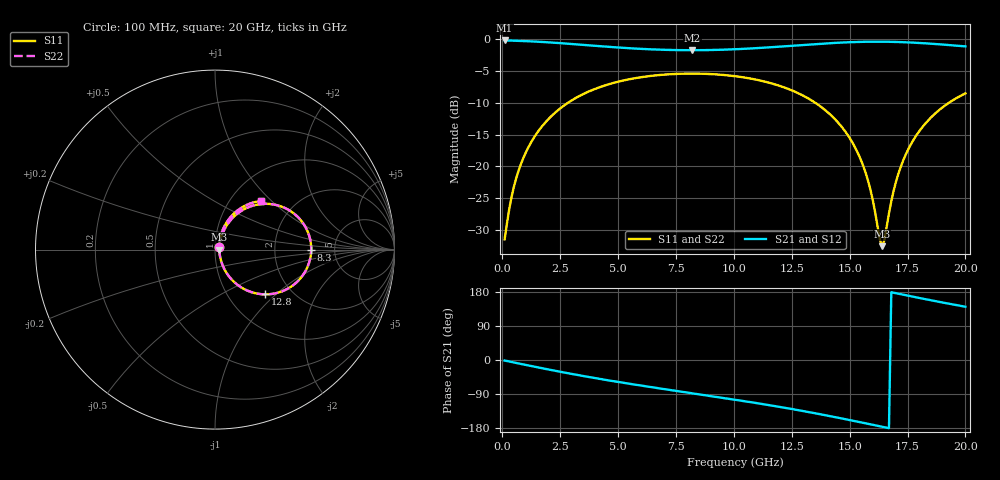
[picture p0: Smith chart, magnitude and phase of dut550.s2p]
! Touchstone file exported from HFSS 2026.1.0
!  File:  C:/ffzhzh/LocalFiles/Ansys_Project_Files/temp_train_TSV_RDL_550_1783114683_46604.aedt
!  Generated:  05:47:28 AM Jul  4, 2026
!  Design:  TSV_RDL
!  Project:  temp_train_TSV_RDL_550_1783114683_46604
! Variables:
!  h_bsmrdl = 2.46um
!  h_ox = 20um
!  h_rdl = 5um
!  h_sub = 75.92um
!  h_tmrdl = 4um
!  h_tsv = 75.92um
!  h_via = 3um
!  l_bsmrdl = 548.22um
!  l_sub = 3356.13um
!  l_tmrdl = 303.89um
!  m_sub = 200um
!  pitch = 49.19um
!  r_tsv = 14.95um
!  s_tmrdl = 10um
!  w_bsmrdl = 14.46um
!  w_sub = 500um
!  w_tmrdl = 17.51um
!  x_tsv_center1 = 312.645um
!  x_tsv_center2 = 875.325um
!  x_tsv_center3 = 1196.725um
!  x_tsv_center4 = 1759.405um
!  x_tsv_center5 = 2080.805um
!  x_tsv_center6 = 2643.485um
# GHz S MA R 50.000000
! Terminal data exported
! Port[1] = TM_RDL1_1_T1
! Port[2] = TM_RDL5_1_T1
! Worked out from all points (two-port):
!   200 points, 100 MHz to 20 GHz, reference 50 ohm
!   highest |S21| = -0.20 dB at 100 MHz (marker M1); lowest = -1.7 dB at 8.2 GHz (marker M2)
!   |S21| within 3 dB of the highest: start of sweep to end of sweep
!   lowest |S11| = -32.6 dB at 16.4 GHz (marker M3), VSWR 1.05, Z = 52.4 + j0.0264 ohm
!   |S11| at or under -10 dB: start of sweep to 2.84 GHz; 13.51 GHz to 19.29 GHz (5.778 GHz wide, 35.2 % of centre)
!   |S22| runs from -32.5 to -5.4 dB; largest |S21 - S12| = 3.3e-14
!   S11 on the Smith chart (normalised r, x): 100 MHz: 1.05, +0.03; 8.3 GHz: 3.31, -0.03; 12.8 GHz: 1.48, -0.86; 20 GHz: 1.38, +0.87
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0.1  0.0266 28.7  0.9769 -1.3  0.9769 -1.3  0.0266 28.7
! Gamma 0 0 0 0
! Port Impedance 50 0 50 0
0.5  0.06892 62.0  0.9727 -6.6  0.9727 -6.6  0.06892 62.0
1.2  0.1494 64.2  0.9617 -15.3  0.9617 -15.3  0.1494 64.2
2.2  0.2562 56.3  0.9389 -27.5  0.9389 -27.5  0.2562 56.3
3.5  0.3703 43.5  0.9014 -42.3  0.9014 -42.3  0.3703 43.5
5  0.4626 29.0  0.8597 -57.9  0.8597 -57.9  0.4626 29.0
6.8  0.5227 12.7  0.8268 -75.0  0.8268 -75.0  0.5227 12.7
8.2  0.5361 0.5  0.8188 -87.7  0.8188 -87.7  0.5361 0.5
8.3  0.536 -0.4  0.8188 -88.6  0.8188 -88.6  0.536 -0.4
10.1  0.5101 -16.2  0.8338 -105.2  0.8338 -105.2  0.5101 -16.2
12.8  0.3743 -41.8  0.8954 -132.6  0.8954 -132.6  0.3743 -41.8
13.4  0.3261 -47.8  0.9115 -139.3  0.9115 -139.3  0.3261 -47.8
14.5  0.221 -58.5  0.9375 -152.3  0.9375 -152.3  0.2211 -58.5
15.3  0.1335 -64.1  0.9503 -162.2  0.9503 -162.2  0.1335 -64.1
15.8  0.07648 -62.5  0.9546 -168.5  0.9546 -168.5  0.07651 -62.4
16.4  0.02353 0.6  0.9553 -176.1  0.9553 -176.1  0.02363 0.6
16.5  0.02616 26.9  0.9549 -177.4  0.9549 -177.4  0.02624 26.8
16.7  0.04264 55.0  0.9537 -179.9  0.9537 -179.9  0.04269 54.8
17.2  0.09809 68.4  0.9485 173.8  0.9485 173.8  0.09811 68.3
17.8  0.166 66.8  0.9382 166.3  0.9382 166.3  0.166 66.8
18.7  0.2608 59.2  0.9162 155.4  0.9162 155.4  0.2607 59.2
20  0.3744 46.4  0.8774 140.6  0.8774 140.6  0.3744 46.4
